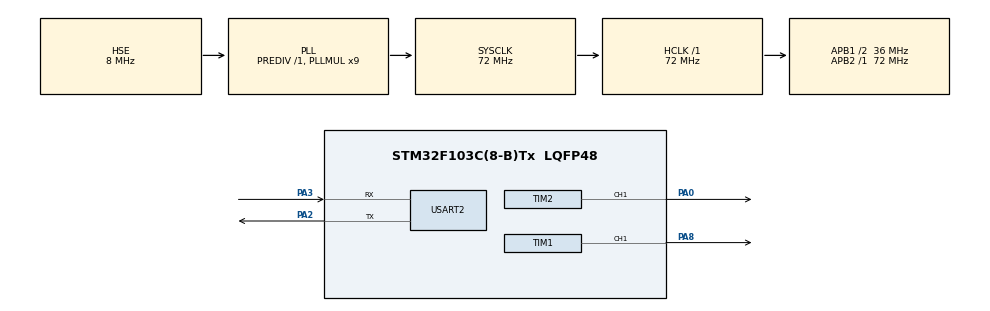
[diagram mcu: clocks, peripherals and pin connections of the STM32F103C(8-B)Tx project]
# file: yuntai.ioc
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Mcu.Family=STM32F1
Mcu.Name=STM32F103C(8-B)Tx
Mcu.Package=LQFP48
NVIC.PriorityGroup=NVIC_PRIORITYGROUP_4
NVIC.USART2_IRQn=true\:0\:0\:false\:false\:true\:true\:true\:true
PA0-WKUP.Signal=S_TIM2_CH1_ETR
PA13.Mode=Serial_Wire
PA13.Signal=SYS_JTMS-SWDIO
PA14.Mode=Serial_Wire
PA14.Signal=SYS_JTCK-SWCLK
PA2.Mode=Asynchronous
PA2.Signal=USART2_TX
PA3.Mode=Asynchronous
PA3.Signal=USART2_RX
PA8.Signal=S_TIM1_CH1
PD0-OSC_IN.Mode=HSE-External-Oscillator
PD0-OSC_IN.Signal=RCC_OSC_IN
PD1-OSC_OUT.Mode=HSE-External-Oscillator
PD1-OSC_OUT.Signal=RCC_OSC_OUT
ProjectManager.HeapSize=0x200
ProjectManager.StackSize=0x400
ProjectManager.TargetToolchain=STM32CubeIDE
RCC.AHBFreq_Value=72000000
RCC.APB1CLKDivider=RCC_HCLK_DIV2
RCC.APB1Freq_Value=36000000
RCC.APB1TimFreq_Value=72000000
RCC.APB2Freq_Value=72000000
RCC.APB2TimFreq_Value=72000000
RCC.HCLKFreq_Value=72000000
RCC.PLLMUL=RCC_PLL_MUL9
RCC.PLLSourceVirtual=RCC_PLLSOURCE_HSE
RCC.SYSCLKFreq_VALUE=72000000
RCC.SYSCLKSource=RCC_SYSCLKSOURCE_PLLCLK
RCC.USBFreq_Value=72000000
SH.S_TIM1_CH1.0=TIM1_CH1,PWM Generation1 CH1
SH.S_TIM2_CH1_ETR.0=TIM2_CH1,PWM Generation1 CH1
TIM1.Channel-PWM\ Generation1\ CH1=TIM_CHANNEL_1
TIM1.Period=2000-1
TIM1.Prescaler=720-1
TIM2.Channel-PWM\ Generation1\ CH1=TIM_CHANNEL_1
TIM2.Period=2000-1
TIM2.Prescaler=720-1
USART2.VirtualMode=VM_ASYNC
VP_TIM1_VS_ClockSourceINT.Mode=Internal
VP_TIM2_VS_ClockSourceINT.Mode=Internal
board=custom

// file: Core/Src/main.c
/* USER CODE BEGIN Header */
/**
  ******************************************************************************
  * @file           : main.c
  * @brief          : Main program body
  ******************************************************************************
  * @attention
  *
  * Copyright (c) 2026 STMicroelectronics.
  * All rights reserved.
  *
  * This software is licensed under terms that can be found in the LICENSE file
  * in the root directory of this software component.
  * If no LICENSE file comes with this software, it is provided AS-IS.
  *
  ******************************************************************************
  */
/* USER CODE END Header */
#include "main.h"

/* USER CODE BEGIN Includes */
#include <stdio.h>
/* USER CODE END Includes */

TIM_HandleTypeDef htim1;
TIM_HandleTypeDef htim2;

UART_HandleTypeDef huart2;

/* USER CODE BEGIN PV */

// ====== 串口逐字节接收 ======
uint8_t rx_byte;               // 单字节接收缓冲区
char line_buf[32];             // 行缓冲区
uint8_t line_idx = 0;          // 行缓冲区索引
volatile uint8_t line_ready = 0; // 新行接收完成标志

volatile float angle_x = 0.0f;  // 水平舵机目标角度 (-90 ~ 90)
volatile float angle_y = 0.0f;  // 俯仰舵机目标角度 (-90 ~ 90)

/* USER CODE END PV */

void SystemClock_Config(void);
static void MX_GPIO_Init(void);
static void MX_TIM1_Init(void);
static void MX_TIM2_Init(void);
static void MX_USART2_UART_Init(void);

/* USER CODE BEGIN 0 */

// ============================================================
//  设置舵机角度 → PWM 脉宽
//  SG90 舵机: 50Hz (20ms 周期)
//  TIM 频率 100kHz (72MHz / 720 prescaler)
//  周期 2000 ticks = 20ms
//  映射: -90°→0°(500μs=50tick), 0°→90°(1500μs=150tick), +90°→180°(2500μs=250tick)
//  公式: pulse = 150 + angle * 100 / 90
//  验证: -90→150-100=50, 0→150, +90→150+100=250
// ============================================================
void SetServoAngle(TIM_HandleTypeDef *htim, uint32_t channel, float angle)
{
  if (angle < -90.0f) angle = -90.0f;
  if (angle >  90.0f) angle =  90.0f;
  uint16_t pulse = (uint16_t)(150.0f + angle * 100.0f / 90.0f);
  __HAL_TIM_SET_COMPARE(htim, channel, pulse);
}

// ============================================================
//  自定义字符串→浮点数（轻量，不依赖 %f，newlib-nano 兼容）
//  支持格式: "123", "123.456", "-12.34", "+0.5"
// ============================================================
float ParseFloat(const char *s, const char **endptr)
{
  float sign = 1.0f, int_part = 0.0f, frac_part = 0.0f, frac_div = 1.0f;
  int has_digits = 0;

  while (*s == ' ') s++;                     // 跳过前导空白
  if (*s == '-') { sign = -1.0f; s++; }
  else if (*s == '+') s++;

  while (*s >= '0' && *s <= '9') {           // 整数部分
    int_part = int_part * 10.0f + (float)(*s - '0');
    has_digits = 1;
    s++;
  }
  if (*s == '.') {                           // 小数部分
    s++;
    while (*s >= '0' && *s <= '9') {
      frac_part = frac_part * 10.0f + (float)(*s - '0');
      frac_div *= 10.0f;
      has_digits = 1;
      s++;
    }
  }
  if (endptr) *endptr = s;
  return has_digits ? sign * (int_part + frac_part / frac_div) : 0.0f;
}

// ============================================================
//  解析串口行数据：格式 "angle_x,angle_y"
//  angle_x/y 范围 -90 ~ 90
// ============================================================
void ParseAngleLine(const char *line)
{
  const char *p;
  float a1 = ParseFloat(line, &p);
  if (*p == ',') {
    float a2 = ParseFloat(p + 1, &p);
    // 跳过尾部 \r \n 等空白字符（兼容不同串口终端）
    while (*p == ' ' || *p == '\r' || *p == '\n') p++;
    if (*p == '\0') {
      angle_x = a1;
      angle_y = a2;
      line_ready = 1;
    }
  }
}

// ============================================================
//  串口接收回调（逐字节模式）
// ============================================================
void HAL_UART_RxCpltCallback(UART_HandleTypeDef *huart)
{
  if (huart->Instance == USART2)
  {
    if (rx_byte == '\n') {
      line_buf[line_idx] = '\0';
      if (line_idx > 0) {
        ParseAngleLine(line_buf);
      }
      line_idx = 0;
    } else if (line_idx < sizeof(line_buf) - 1) {
      line_buf[line_idx++] = rx_byte;
    }
    HAL_UART_Receive_IT(&huart2, &rx_byte, 1);
  }
}

/* USER CODE END 0 */

int main(void)
{

  /* MCU Configuration--------------------------------------------------------*/

  /* Reset of all peripherals, Initializes the Flash interface and the Systick. */
  HAL_Init();

  /* Configure the system clock */
  SystemClock_Config();

  /* Initialize all configured peripherals */
  MX_GPIO_Init();
  MX_TIM1_Init();
  MX_TIM2_Init();
  MX_USART2_UART_Init();
  /* USER CODE BEGIN 2 */
  // 启动 PWM 输出
  HAL_TIM_PWM_Start(&htim1, TIM_CHANNEL_1);
  HAL_TIM_PWM_Start(&htim2, TIM_CHANNEL_1);

  // 舵机回中 (0° 对应 SG90 的 90° 位置)
  SetServoAngle(&htim1, TIM_CHANNEL_1, 30);
  SetServoAngle(&htim2, TIM_CHANNEL_1, 30);
  HAL_Delay(500); // 舵机连接测试
  SetServoAngle(&htim1, TIM_CHANNEL_1, 0);
  SetServoAngle(&htim2, TIM_CHANNEL_1, 0);

  // 启动串口逐字节接收
  HAL_UART_Receive_IT(&huart2, &rx_byte, 1);
  /* USER CODE END 2 */

  /* Infinite loop */
  /* USER CODE BEGIN WHILE */
  while (1)
  {
    // ---- 收到新角度数据，直接设置舵机 ----
    if (line_ready) {
      line_ready = 0;

      // 关中断读取，防止数据竞争
      __disable_irq();
      float a1 = angle_x;
      float a2 = angle_y;
      __enable_irq();

      // 直接设置舵机角度 (-90~90 映射到 SG90 的 0°~180°)
      SetServoAngle(&htim1, TIM_CHANNEL_1, a1);
      SetServoAngle(&htim2, TIM_CHANNEL_1, a2);
    }

    HAL_Delay(5);
    /* USER CODE END WHILE */

  }
}

void SystemClock_Config(void)
{
  RCC_OscInitTypeDef RCC_OscInitStruct = {0};
  RCC_ClkInitTypeDef RCC_ClkInitStruct = {0};

  /** Initializes the RCC Oscillators according to the specified parameters
  * in the RCC_OscInitTypeDef structure.
  */
  RCC_OscInitStruct.OscillatorType = RCC_OSCILLATORTYPE_HSE;
  RCC_OscInitStruct.HSEState = RCC_HSE_ON;
  RCC_OscInitStruct.HSEPredivValue = RCC_HSE_PREDIV_DIV1;
  RCC_OscInitStruct.HSIState = RCC_HSI_ON;
  RCC_OscInitStruct.PLL.PLLState = RCC_PLL_ON;
  RCC_OscInitStruct.PLL.PLLSource = RCC_PLLSOURCE_HSE;
  RCC_OscInitStruct.PLL.PLLMUL = RCC_PLL_MUL9;
  if (HAL_RCC_OscConfig(&RCC_OscInitStruct) != HAL_OK)
  {
    Error_Handler();
  }

  /** Initializes the CPU, AHB and APB buses clocks
  */
  RCC_ClkInitStruct.ClockType = RCC_CLOCKTYPE_HCLK|RCC_CLOCKTYPE_SYSCLK
                              |RCC_CLOCKTYPE_PCLK1|RCC_CLOCKTYPE_PCLK2;
  RCC_ClkInitStruct.SYSCLKSource = RCC_SYSCLKSOURCE_PLLCLK;
  RCC_ClkInitStruct.AHBCLKDivider = RCC_SYSCLK_DIV1;
  RCC_ClkInitStruct.APB1CLKDivider = RCC_HCLK_DIV2;
  RCC_ClkInitStruct.APB2CLKDivider = RCC_HCLK_DIV1;

  if (HAL_RCC_ClockConfig(&RCC_ClkInitStruct, FLASH_LATENCY_2) != HAL_OK)
  {
    Error_Handler();
  }
}

static void MX_TIM1_Init(void)
{

  TIM_ClockConfigTypeDef sClockSourceConfig = {0};
  TIM_MasterConfigTypeDef sMasterConfig = {0};
  TIM_OC_InitTypeDef sConfigOC = {0};
  TIM_BreakDeadTimeConfigTypeDef sBreakDeadTimeConfig = {0};

  htim1.Instance = TIM1;
  htim1.Init.Prescaler = 720-1;
  htim1.Init.CounterMode = TIM_COUNTERMODE_UP;
  htim1.Init.Period = 2000-1;
  htim1.Init.ClockDivision = TIM_CLOCKDIVISION_DIV1;
  htim1.Init.RepetitionCounter = 0;
  htim1.Init.AutoReloadPreload = TIM_AUTORELOAD_PRELOAD_DISABLE;
  if (HAL_TIM_Base_Init(&htim1) != HAL_OK)
  {
    Error_Handler();
  }
  sClockSourceConfig.ClockSource = TIM_CLOCKSOURCE_INTERNAL;
  if (HAL_TIM_ConfigClockSource(&htim1, &sClockSourceConfig) != HAL_OK)
  {
    Error_Handler();
  }
  if (HAL_TIM_PWM_Init(&htim1) != HAL_OK)
  {
    Error_Handler();
  }
  sMasterConfig.MasterOutputTrigger = TIM_TRGO_RESET;
  sMasterConfig.MasterSlaveMode = TIM_MASTERSLAVEMODE_DISABLE;
  if (HAL_TIMEx_MasterConfigSynchronization(&htim1, &sMasterConfig) != HAL_OK)
  {
    Error_Handler();
  }
  sConfigOC.OCMode = TIM_OCMODE_PWM1;
  sConfigOC.Pulse = 0;
  sConfigOC.OCPolarity = TIM_OCPOLARITY_HIGH;
  sConfigOC.OCNPolarity = TIM_OCNPOLARITY_HIGH;
  sConfigOC.OCFastMode = TIM_OCFAST_DISABLE;
  sConfigOC.OCIdleState = TIM_OCIDLESTATE_RESET;
  sConfigOC.OCNIdleState = TIM_OCNIDLESTATE_RESET;
  if (HAL_TIM_PWM_ConfigChannel(&htim1, &sConfigOC, TIM_CHANNEL_1) != HAL_OK)
  {
    Error_Handler();
  }
  sBreakDeadTimeConfig.OffStateRunMode = TIM_OSSR_DISABLE;
  sBreakDeadTimeConfig.OffStateIDLEMode = TIM_OSSI_DISABLE;
  sBreakDeadTimeConfig.LockLevel = TIM_LOCKLEVEL_OFF;
  sBreakDeadTimeConfig.DeadTime = 0;
  sBreakDeadTimeConfig.BreakState = TIM_BREAK_DISABLE;
  sBreakDeadTimeConfig.BreakPolarity = TIM_BREAKPOLARITY_HIGH;
  sBreakDeadTimeConfig.AutomaticOutput = TIM_AUTOMATICOUTPUT_DISABLE;
  if (HAL_TIMEx_ConfigBreakDeadTime(&htim1, &sBreakDeadTimeConfig) != HAL_OK)
  {
    Error_Handler();
  }
  HAL_TIM_MspPostInit(&htim1);

}

static void MX_TIM2_Init(void)
{

  TIM_ClockConfigTypeDef sClockSourceConfig = {0};
  TIM_MasterConfigTypeDef sMasterConfig = {0};
  TIM_OC_InitTypeDef sConfigOC = {0};

  htim2.Instance = TIM2;
  htim2.Init.Prescaler = 720-1;
  htim2.Init.CounterMode = TIM_COUNTERMODE_UP;
  htim2.Init.Period = 2000-1;
  htim2.Init.ClockDivision = TIM_CLOCKDIVISION_DIV1;
  htim2.Init.AutoReloadPreload = TIM_AUTORELOAD_PRELOAD_DISABLE;
  if (HAL_TIM_Base_Init(&htim2) != HAL_OK)
  {
    Error_Handler();
  }
  sClockSourceConfig.ClockSource = TIM_CLOCKSOURCE_INTERNAL;
  if (HAL_TIM_ConfigClockSource(&htim2, &sClockSourceConfig) != HAL_OK)
  {
    Error_Handler();
  }
  if (HAL_TIM_PWM_Init(&htim2) != HAL_OK)
  {
    Error_Handler();
  }
  sMasterConfig.MasterOutputTrigger = TIM_TRGO_RESET;
  sMasterConfig.MasterSlaveMode = TIM_MASTERSLAVEMODE_DISABLE;
  if (HAL_TIMEx_MasterConfigSynchronization(&htim2, &sMasterConfig) != HAL_OK)
  {
    Error_Handler();
  }
  sConfigOC.OCMode = TIM_OCMODE_PWM1;
  sConfigOC.Pulse = 0;
  sConfigOC.OCPolarity = TIM_OCPOLARITY_HIGH;
  sConfigOC.OCFastMode = TIM_OCFAST_DISABLE;
  if (HAL_TIM_PWM_ConfigChannel(&htim2, &sConfigOC, TIM_CHANNEL_1) != HAL_OK)
  {
    Error_Handler();
  }
  HAL_TIM_MspPostInit(&htim2);

}

static void MX_USART2_UART_Init(void)
{

  huart2.Instance = USART2;
  huart2.Init.BaudRate = 115200;
  huart2.Init.WordLength = UART_WORDLENGTH_8B;
  huart2.Init.StopBits = UART_STOPBITS_1;
  huart2.Init.Parity = UART_PARITY_NONE;
  huart2.Init.Mode = UART_MODE_TX_RX;
  huart2.Init.HwFlowCtl = UART_HWCONTROL_NONE;
  huart2.Init.OverSampling = UART_OVERSAMPLING_16;
  if (HAL_UART_Init(&huart2) != HAL_OK)
  {
    Error_Handler();
  }

}

static void MX_GPIO_Init(void)
{

  /* GPIO Ports Clock Enable */
  __HAL_RCC_GPIOD_CLK_ENABLE();
  __HAL_RCC_GPIOA_CLK_ENABLE();

}

void Error_Handler(void)
{
  __disable_irq();
  while (1)
  {
  }
}
